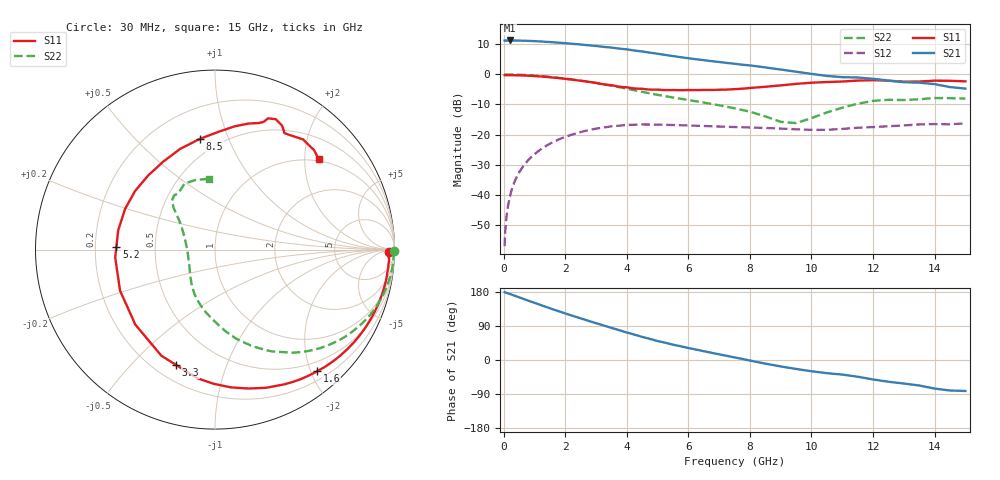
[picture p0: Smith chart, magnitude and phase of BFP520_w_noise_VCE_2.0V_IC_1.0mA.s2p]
! Infineon Technologies  Discrete & RF Semiconductors
! BFP520
! VCE =  2.0 V,  IC =  1.0 mA
! Common Emitter S-Parameters:  Oct 2015
# GHz  S  MA  R  50
!  f  S11  S21  S12  S22
! GHz  MAG  ANG  MAG  ANG  MAG  ANG  MAG  ANG
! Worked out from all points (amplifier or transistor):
!   109 points, 30 MHz to 15 GHz, reference 50 ohm
!   highest |S21| = 11.3 dB at 200 MHz (marker M1)
!   |S21| within 3 dB of that: start of sweep to 4.028 GHz
!   unconditionally stable (mu >= 1): 5.558 GHz to end of sweep
!   at 450 MHz: K = 0.02, MSG = 22.4 dB, |S12| = -33.5 dB
!   at 4 GHz: K = 0.60, MSG = 12.6 dB, |S12| = -16.8 dB
!   at 15 GHz: K = 2.01, MAG = 0.0 dB, |S12| = -16.3 dB
!   lowest NFmin = 0.87 dB at 900 MHz
!   S11 on the Smith chart (normalised r, x): 30 MHz: 53, -28; 1.6 GHz: 0.34, -2.11; 3.3 GHz: 0.29, -0.68; 5.2 GHz: 0.29, +0.01; 8.5 GHz: 0.39, +0.79; 15 GHz: 0.96, +2.33
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0.03  0.971 -0.9  3.649 178.9  0.0014 82.7  0.9958 -0.6
0.05  0.9676 -1.5  3.633 177.9  0.0025 85.9  0.9959 -0.9
0.1  0.9708 -3.1  3.63 177.0  0.0047 87.2  0.996 -1.9
0.2  0.9706 -6.0  3.66 174.2  0.0093 86.2  0.9948 -3.9
0.4  0.9661 -12.1  3.648 168.4  0.0187 83.2  0.9894 -7.7
0.7  0.9545 -21.3  3.622 159.5  0.033 78.2  0.9754 -13.5
1.2  0.9228 -36.9  3.522 145.1  0.0567 68.8  0.9372 -22.9
1.6  0.8854 -49.9  3.416 133.8  0.0748 60.9  0.8963 -30.0
2  0.8439 -62.9  3.296 123.0  0.0916 53.0  0.8508 -36.8
2.6  0.7728 -83.4  3.1 107.3  0.1135 41.4  0.7746 -46.6
3.3  0.6777 -108.8  2.845 89.8  0.1322 27.9  0.6759 -57.5
4  0.6097 -136.8  2.605 72.5  0.1447 15.4  0.5777 -68.9
4.5  0.5762 -156.7  2.403 60.9  0.1475 7.1  0.513 -76.3
5.1  0.5529 -178.5  2.163 48.3  0.1459 -1.0  0.4481 -83.8
5.2  0.5496 178.3  2.122 46.4  0.1454 -2.1  0.439 -84.9
6.5  0.5521 143.9  1.723 23.2  0.139 -14.4  0.3403 -100.9
7.6  0.5717 118.2  1.48 5.3  0.133 -21.6  0.2665 -116.0
8.5  0.6226 97.8  1.305 -9.6  0.1288 -26.5  0.2004 -133.4
9.5  0.6958 80.9  1.107 -23.6  0.1222 -30.5  0.1551 178.9
10.5  0.7464 70.9  0.942 -34.7  0.1199 -30.4  0.2333 144.1
13  0.7557 59.2  0.741 -62.1  0.1419 -38.5  0.3748 122.7
15  0.766 41.0  0.58 -81.7  0.1537 -49.4  0.3961 94.9
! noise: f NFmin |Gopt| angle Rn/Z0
0.45  0.88  0.79  5  0.61
0.9  0.87  0.75  15  0.62
1.9  1.31  0.61  32  0.51
2.4  1.44  0.57  45  0.48
3.5  1.45  0.55  70  0.41
